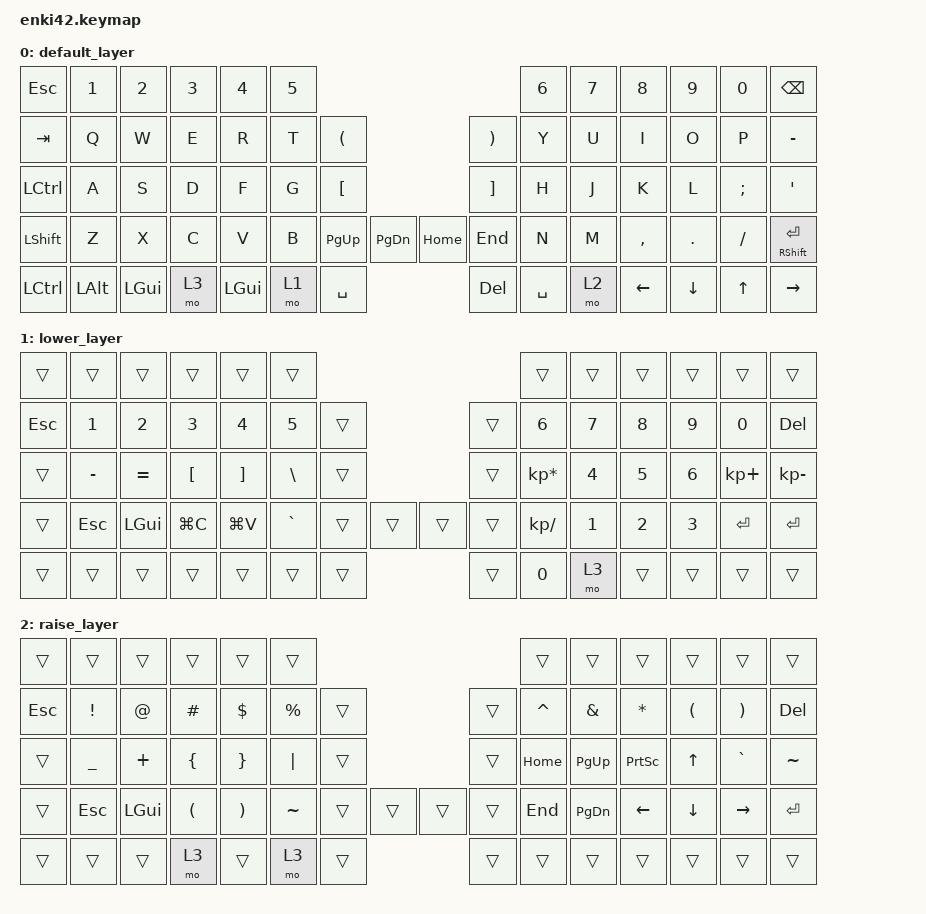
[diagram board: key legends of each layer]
/*
 * Copyright (c) 2020 The ZMK Contributors
 *
 * SPDX-License-Identifier: MIT
 */

#include <behaviors.dtsi>
#include <dt-bindings/zmk/keys.h>
#include <dt-bindings/zmk/bt.h>

#include <dt-bindings/zmk/ext_power.h>






/ {
    keymap {
        compatible =  "zmk,keymap" ;

        default_layer {
// --------------------------------------------------------------------------------------------------------------------------------
// | ESC   |  1  |  2  |   3   |  4  |  5  |                   ---                |  6    |  7    |  8    |  9   | 0  |    BKSP   |
// | TAB   |  Q  |  W  |   E   |  R  |  T  |   (   |           ---        |  )    |  Y    |  U    |  I    |  O   | P  |     -     |
// | CTRL  |  A  |  S  |   D   |  F  |  G  |   [   |           ---        |  ]    |  H    |  J    |  K    |  L   | ;  |     '     |
// | SHIFT |  Z  |  X  |   C   |  V  |  B  | PG_UP | PG_DOWN | --- | HOME | END   |  N    |  M    |  ,    |  .   | /  | SHFT(RET) |
// | CRTL  | ALT | GUI | LOWER |    GUI    | LOWER | SPACE   | --- | DEL  | SPACE |     RAISE     | LEFT  | DOWN | UP |   RIGHT   |
            bindings = <
   &kp ESC   &kp N1   &kp N2   &kp N3 &kp N4   &kp N5                                        &kp N6    &kp N7 &kp N8    &kp N9   &kp N0   &kp BSPC
   &kp TAB   &kp Q    &kp W    &kp E  &kp R    &kp T  &kp LPAR                     &kp RPAR  &kp Y     &kp U  &kp I     &kp O    &kp P    &kp MINUS
   &kp LCTRL &kp A    &kp S    &kp D  &kp F    &kp G  &kp LBKT                     &kp RBKT  &kp H     &kp J  &kp K     &kp L    &kp SEMI &kp SQT
   &kp LSHFT &kp Z    &kp X    &kp C  &kp V    &kp B  &kp PG_UP &kp PG_DN &kp HOME &kp END   &kp N     &kp M  &kp COMMA &kp DOT  &kp FSLH &mt RSHFT RET
   &kp LCTRL &kp LALT &kp LGUI &mo 3      &kp LGUI    &mo 1     &kp SPACE &kp DEL  &kp SPACE       &mo 2      &kp LEFT  &kp DOWN &kp UP   &kp RIGHT
            >;

        };

        lower_layer {
// --------------------------------------------------------------------------------------------------------------------------
// | ESC   |  1  |  2  |   3   |   4   |  5  |                   ---              |  6  |  7  |   8  |  9   |  0  |  DEL  |
// | ESC   |  1  |  2  |   3   |   4   |  5  |   (   |           ---        |  )  |  6  |  7  |   8  |  9   |  0  |  DEL  |
// | CTRL  |  -  |  =  |   [   |   ]   |  \  |   [   |           ---        |  ]  |  *  |  4  |   5  |  6   |  +  |   -   |
// | SHIFT | ESC | GUI | COPY  | PASTE |     | PG_UP | PG_DOWN | --- | HOME | END |  \  |  1  |   2  |  3   | RET |  RET  |
// | CRTL  | ALT | GUI | LOWER |     GUI     | LOWER | SPACE   | --- | DEL  |  0  |    RAISE  | LEFT | DOWN | UP  | RIGHT |
            bindings = <
   &trans  &trans    &trans    &trans    &trans    &trans                                &trans          &trans    &trans    &trans    &trans      &trans
   &kp ESC &kp N1    &kp N2    &kp N3    &kp N4    &kp N5    &trans               &trans &kp N6          &kp N7    &kp N8    &kp N9    &kp N0      &kp DEL
   &trans  &kp MINUS &kp EQUAL &kp LBKT  &kp RBKT  &kp BSLH  &trans               &trans &kp KP_MULTIPLY &kp N4    &kp N5    &kp N6    &kp KP_PLUS &kp KP_MINUS
   &trans  &kp ESC   &kp LGUI  &kp LG(C) &kp LG(V) &kp GRAVE &trans &trans &trans &trans &kp KP_DIVIDE   &kp N1    &kp N2    &kp N3    &kp RET     &kp RET
   &trans  &trans    &trans    &trans          &trans        &trans &trans &trans &kp N0          &mo 3            &trans    &trans    &trans      &trans
            >;
        };

        raise_layer {
// ----------------------------------------------------------------------------------------------------------------------------
// | ESC   |  1  |  2  |   3   |  4  |  5  |                   ---                |  6   |  7   |  8   |  9   |  0    |  DEL  |
// | ESC   |  !  |  @  |   #   |  $  |  %  |   (   |           ---        |  )    |  ^   |  &   |  *   |  (   |  )    |  DEL  |
// | CTRL  |  _  |  +  |   {   |  }  | "|" |   [   |           ---        |  ]    | HOME | PGUP | PRSC | UP   |  `    |   ~   |
// | SHIFT | ESC | GUI |   (   |  )  |     | PG_UP | PG_DOWN | --- | HOME | END   | END  | PGDN | LEFT | DOWN | RIGHT |  RET  |
// | CRTL  | ALT | GUI | LOWER |    GUI    | LOWER | SPACE   | --- | DEL  | SPACE |    RAISE    | LEFT | DOWN | UP    | RIGHT |
            bindings = <
   &trans  &trans    &trans   &trans   &trans   &trans                                &trans    &trans    &trans    &trans   &trans    &trans
   &kp ESC &kp EXCL  &kp AT   &kp HASH &kp DLLR &kp PRCNT &trans               &trans &kp CARET &kp AMPS  &kp ASTRK &kp LPAR &kp RPAR  &kp DEL
   &trans  &kp UNDER &kp PLUS &kp LBRC &kp RBRC &kp PIPE  &trans               &trans &kp HOME  &kp PG_UP &kp PSCRN &kp UP   &kp GRAVE &kp TILDE
   &trans  &kp ESC   &kp LGUI &kp LPAR &kp RPAR &kp TILDE &trans &trans &trans &trans &kp END   &kp PG_DN &kp LEFT  &kp DOWN &kp RIGHT &kp RET
   &trans  &trans    &trans   &mo 3         &trans        &mo 3  &trans &trans &trans        &trans       &trans    &trans   &trans    &trans
            >;
        };

     
    };

